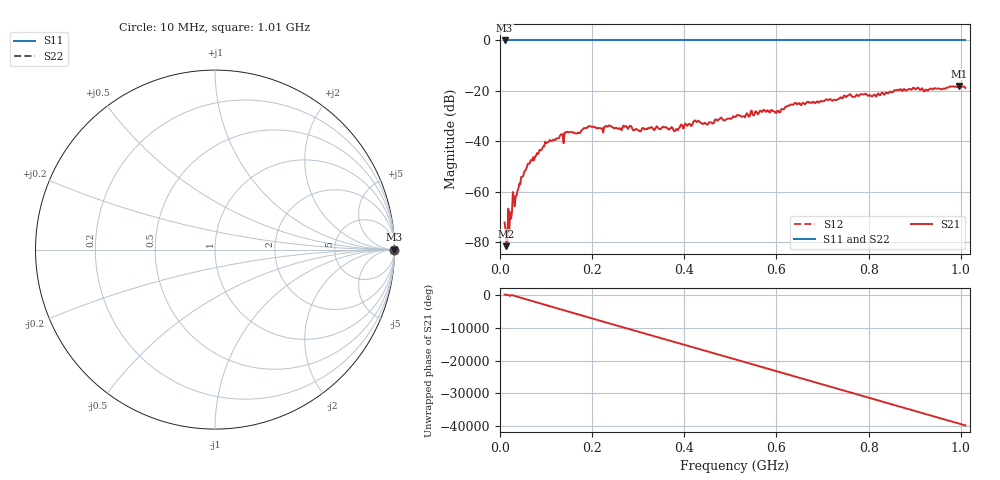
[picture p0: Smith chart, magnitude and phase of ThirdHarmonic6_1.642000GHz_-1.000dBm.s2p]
! 8/16/2025 7:38:53 PM
! C:\ANRITSUVNA\TEMP\TEMP.S2P
! CHANNEL.1
! TR.MEASUREMENT
! RAW.DATA
! RF.CORRECTION.OFF
! AVERAGING.OFF
! IF.BANDWIDTH: 5KHZ
! SWEEPTYPE:  FREQ.SWEEP(Linear)
! Reference Plane Port Info
! PORT:  PORT1  PORT2
! DISTANCE:  0  m  0  m
! TIME:  0  s  0  s
! PHASE.OFFSET:  0  deg.  0  deg.
! LOSS:  0  dB  0  dB
! REF.LOSS:  0  dB  0  dB
! REF.FREQ:  0  Hz  0  Hz
! Power Info
! POWER:  -20  dBm  -20  dBm
! EFF.POWER:  -20  dBm  -20  dBm
! SOURCE.ATTEN:  0  dB  0  dB
! TEST.ATTEN:  0  dB  0  dB
# GHZ S RI R 50.0
! FREQ.GHZ  S11RE  S11IM  S21RE  S21IM  S12RE  S12IM  S22RE  S22IM
!; PortSelection: Port_12
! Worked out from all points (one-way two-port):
!   501 points, 10 MHz to 1.01 GHz, reference 50 ohm
!   highest |S21| = -18.04 dB at 996 MHz (marker M1); lowest = -81.6 dB at 14 MHz (marker M2)
!   lowest |S11| = 0.0 dB at 10 MHz (marker M3)
!   |S11| at or under -10 dB: nowhere
!   |S22| runs from 0.0 to 0.0 dB; largest |S21 - S12| = 1.1
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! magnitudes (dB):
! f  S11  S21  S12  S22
! 10 MHz  0.0  -72.2  0.0  0.0
! 12 MHz  0.0  -75.1  0.0  0.0
! 14 MHz  0.0  -81.6  0.0  0.0
! 18 MHz  0.0  -66.7  0.0  0.0
! 26 MHz  0.0  -68.1  0.0  0.0
! 32 MHz  0.0  -65.7  0.0  0.0
! 64 MHz  0.0  -49.0  0.0  0.0
! 102 MHz  0.0  -40.6  0.0  0.0
! 144 MHz  0.0  -36.3  0.0  0.0
! 178 MHz  0.0  -35.4  0.0  0.0
! 196 MHz  0.0  -34.1  0.0  0.0
! 344 MHz  0.0  -34.8  0.0  0.0
! 382 MHz  0.0  -35.2  0.0  0.0
! 424 MHz  0.0  -31.8  0.0  0.0
! 450 MHz  0.0  -33.4  0.0  0.0
! 510 MHz  0.0  -30.4  0.0  0.0
! 604 MHz  0.0  -27.9  0.0  0.0
! 638 MHz  0.0  -25.2  0.0  0.0
! 678 MHz  0.0  -24.6  0.0  0.0
! 844 MHz  0.0  -20.7  0.0  0.0
! 996 MHz  0.0  -18.0  0.0  0.0
! 1.01 GHz  0.0  -18.8  0.0  0.0
